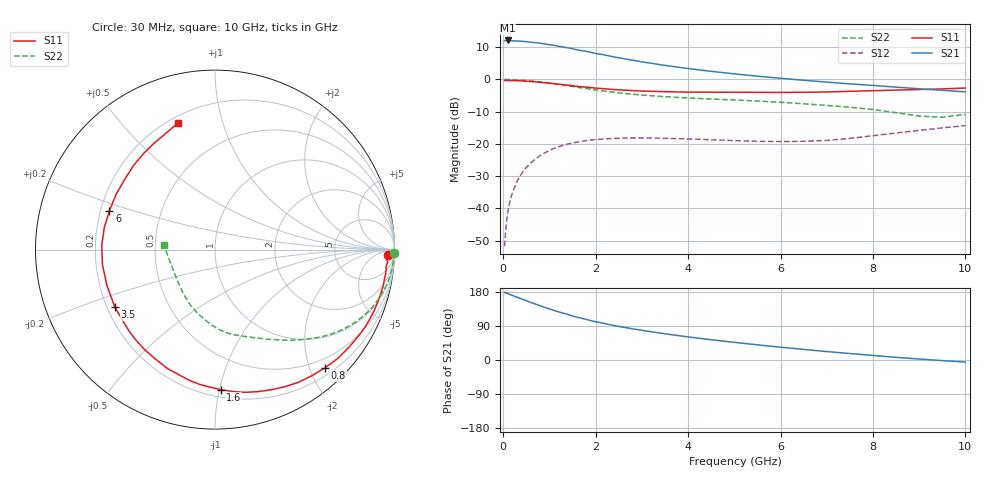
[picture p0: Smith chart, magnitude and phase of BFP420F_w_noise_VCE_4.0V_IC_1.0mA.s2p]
! (c) 2011  Infineon Technologies AG, Munich
! Infineon Technologies  Discrete & RF Semiconductors
! BFP420F
! VCE =  4.0 V,  IC =  1.0 mA
! Common Emitter S-Parameters:  Sep 2011
# GHz  S  MA  R  50
!  f  S11  S21  S12  S22
! GHz  MAG  ANG  MAG  ANG  MAG  ANG  MAG  ANG
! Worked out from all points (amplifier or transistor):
!   54 points, 30 MHz to 10 GHz, reference 50 ohm
!   highest |S21| = 12.1 dB at 100 MHz (marker M1)
!   |S21| within 3 dB of that: start of sweep to 1.642 GHz
!   unconditionally stable (mu >= 1): 3.625 GHz to end of sweep
!   at 120 MHz: K = 0.04, MSG = 25.8 dB, |S12| = -39.6 dB
!   at 1.3 GHz: K = 0.20, MSG = 15.2 dB, |S12| = -20.4 dB
!   at 10 GHz: K = 1.82, MAG = 0.0 dB, |S12| = -14.3 dB
!   lowest NFmin = 0.80 dB at 450 MHz
!   S11 on the Smith chart (normalised r, x): 30 MHz: 32, -25; 800 MHz: 0.33, -2.26; 1.6 GHz: 0.25, -1.01; 3.5 GHz: 0.23, -0.25; 6 GHz: 0.24, +0.17; 10 GHz: 0.24, +0.72
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0.03  0.9617 -1.7  3.986 178.2  0.0026 82.0  0.9973 -1.0
0.07  0.9649 -4.3  3.996 176.8  0.0062 87.2  0.9969 -2.1
0.1  0.9574 -6.1  4.008 175.0  0.0088 85.3  0.996 -3.0
0.2  0.9589 -12.0  3.957 170.5  0.0176 82.9  0.9918 -6.0
0.35  0.9498 -21.1  3.916 163.4  0.0305 78.4  0.9802 -10.4
0.6  0.9245 -35.6  3.759 151.8  0.051 70.2  0.9486 -17.4
0.8  0.8999 -47.0  3.624 143.0  0.066 63.9  0.9159 -22.7
1  0.8732 -57.9  3.451 135.0  0.0792 57.9  0.8773 -27.7
1.2  0.8409 -68.4  3.256 126.9  0.0904 52.0  0.8364 -32.3
1.6  0.7805 -87.7  2.872 113.0  0.1067 41.8  0.7555 -40.4
1.7  0.7669 -92.0  2.791 110.1  0.1096 39.7  0.7361 -42.1
2  0.7306 -104.5  2.518 101.0  0.1164 33.6  0.685 -47.2
2.4  0.6941 -118.7  2.224 90.9  0.1217 27.1  0.6307 -53.1
2.8  0.67 -131.1  1.975 82.2  0.1235 22.1  0.5889 -58.2
3.5  0.6437 -150.1  1.645 69.2  0.1221 16.2  0.5383 -65.8
4.5  0.6327 -172.6  1.332 53.5  0.116 12.6  0.4953 -74.9
5.5  0.629 168.8  1.121 40.0  0.1098 14.3  0.4619 -83.4
6  0.6268 159.8  1.04 33.8  0.1087 17.0  0.4416 -88.0
7  0.6377 141.8  0.906 22.3  0.1133 24.4  0.3945 -98.3
8.5  0.682 120.2  0.758 7.0  0.1475 31.0  0.3042 -125.0
9.5  0.7118 110.8  0.677 -1.6  0.1768 29.5  0.2591 -163.1
10  0.7338 106.5  0.64 -5.5  0.1922 27.6  0.2872 174.4
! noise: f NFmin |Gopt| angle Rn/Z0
0.45  0.8  0.67  17  0.46
0.9  0.92  0.64  37  0.43
1.9  1.38  0.51  82  0.32
2.4  1.57  0.51  97  0.3
3.5  2.11  0.52  131  0.19
